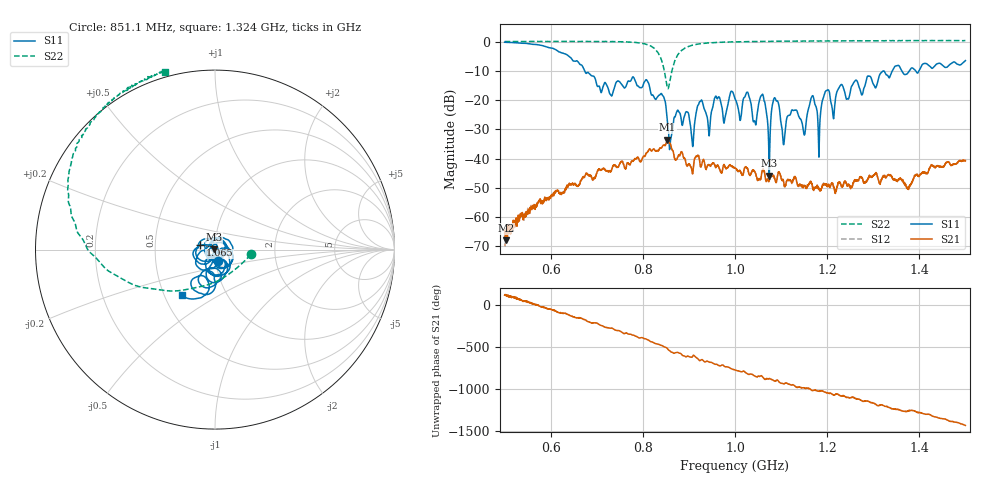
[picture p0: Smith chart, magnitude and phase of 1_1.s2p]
!Keysight Technologies,N5242B,MY48420860,A.13.80.08
!Date: Saturday, September 26, 2020 11:55:32
!Correction: S11(Full 2 Port(1,2))
!S21(Full 2 Port(1,2))
!S12(Full 2 Port(1,2))
!S22(Full 2 Port(1,2))
!S2P File: Measurements: S11, S21, S12, S22:
# Hz S  dB  R 50
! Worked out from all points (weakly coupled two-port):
!   2650 points, 500 MHz to 1.5 GHz, reference 50 ohm
!   highest |S21| = -33.62 dB at 853.3 MHz (marker M1); lowest = -68.0 dB at 502.3 MHz (marker M2)
!   lowest |S11| = -45.9 dB at 1.074 GHz (marker M3), VSWR 1.01, Z = 49.5 + j0.0581 ohm
!   |S11| at or under -10 dB: 673.9 MHz to 1.342 GHz (667.6 MHz wide, 66.2 % of centre); 1.362 GHz to 1.379 GHz (17.16 MHz wide, 1.25 % of centre); 1.392 GHz to 1.399 GHz (7.261 MHz wide, 0.52 % of centre)
!   |S22| runs from -16.2 to 0.4 dB; largest |S21 - S12| = 0.00036
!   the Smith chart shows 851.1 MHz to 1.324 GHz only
!   S11 on the Smith chart (normalised r, x): 851.1 MHz: 1.03, -0.13; 1.065 GHz: 0.85, +0.04; 1.324 GHz: 0.62, -0.34
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5e8  -0.25 -166.4  -65.47 112.2  -66.93 106.7  0.01 147.5
5.02265e8  -0.27 -167.6  -67.97 117.6  -66.14 114.2  -0.01 147.4
6.045678e8  -2.31 125.6  -52.64 -63.8  -52.41 -62.0  0.02 139.1
6.668554e8  -8.03 78.8  -47.24 -163.0  -47.35 -162.2  0.01 132.8
8.337108e8  -18.57 5.5  -37.38 -112.2  -37.34 -111.9  -4.02 64.2
8.510759e8  -23.75 -74.8  -34.60 -151.5  -34.54 -151.6  -13.96 -7.7
8.533409e8  -27.45 -75.5  -33.62 -163.6  -33.58 -163.4  -15.86 -36.1
8.937335e8  -24.03 67.6  -41.75 99.7  -41.63 100.1  -2.10 170.6
9.07701e8  -35.52 -101.2  -45.25 102.3  -45.24 101.8  -1.27 161.0
9.239336e8  -20.55 24.6  -41.82 53.9  -41.70 53.6  -0.78 153.1
9.428086e8  -30.85 -36.7  -42.28 39.8  -41.99 39.7  -0.48 146.9
1.000189e9  -19.60 -119.1  -43.23 -58.0  -43.24 -57.2  -0.12 135.6
1.065496e9  -21.45 162.8  -46.34 -170.0  -46.39 -170.0  0.04 127.8
1.074179e9  -45.92 173.3  -47.33 -159.8  -47.59 -159.6  0.04 126.7
1.086259e9  -19.22 -167.2  -46.89 172.9  -46.71 171.8  0.10 125.9
1.105134e9  -35.18 20.9  -47.58 137.2  -47.84 137.2  0.11 123.8
1.166667e9  -18.87 -35.7  -48.47 61.2  -48.65 63.3  0.14 118.3
1.182144e9  -39.53 -48.6  -50.05 49.1  -50.47 51.8  0.14 116.9
1.198754e9  -16.75 -69.4  -49.36 30.0  -48.92 31.6  0.20 115.6
1.323707e9  -10.14 -126.5  -45.90 -123.5  -45.89 -124.0  0.26 105.7
1.333522e9  -12.26 -129.5  -45.52 -142.3  -45.63 -141.1  0.33 105.0
1.5e9  -6.53 168.2  -40.75 3.4  -40.81 3.8  0.31 91.1
